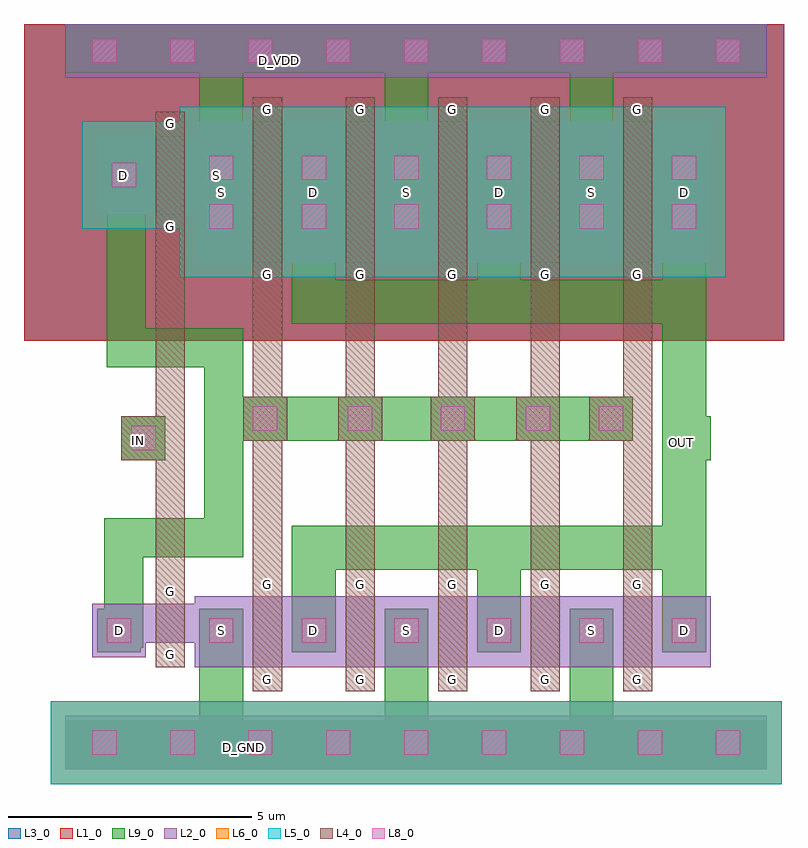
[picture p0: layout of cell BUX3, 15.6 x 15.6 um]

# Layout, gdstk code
import gdstk
lib = gdstk.Library(unit=1e-6, precision=1e-09)
def R(c, l, rs):  # rectangles x0, y0, x1, y1
    for r in rs: c.add(gdstk.rectangle(r[:2], r[2:], *l))
def A(c, l, x, y, w, h, nx, ny, dx, dy):  # array of equal rectangles
    R(c, l, [(x+i*dx, y+j*dy, x+i*dx+w, y+j*dy+h) for i in range(nx) for j in range(ny)])
def P(c, l, *ps):  # polygons
    for p in ps: c.add(gdstk.Polygon(p, *l))
L1_0 = (1, 0)
L2_0 = (2, 0)
L3_0 = (3, 0)
L4_0 = (4, 0)
L5_0 = (5, 0)
L6_0 = (6, 0)
L8_0 = (8, 0)
L9_0 = (9, 0)

bux3 = lib.new_cell('BUX3')
A(bux3, L1_0, 0, 8.8, 1.6, 6.5, 9, 1, 1.6, 0)
A(bux3, L1_0, 1.15, 8.9, 6, 5.9, 5, 1, 1.9, 0)
R(bux3, L1_0, [(-0.85,8.8,14.75,15.3), (-0.85,9.9,5.15,14.5)])
A(bux3, L2_0, 0, 0, 1.6, 1.1, 9, 2, 1.6, 14.2)
A(bux3, L2_0, 3.75, 2.1, 0.8, 1.45, 5, 1, 1.9, 0)
A(bux3, L2_0, 3.75, 10.4, 0.8, 2.9, 5, 1, 1.9, 0)
R(bux3, L2_0, [(2.65,2.1,3.75,3.55), (4.55,2.1,5.65,3.55), (4.55,2.1,5.65,3.55), (6.45,2.1,7.55,3.55), (6.45,2.1,7.55,3.55), (8.35,2.1,9.45,3.55), (8.35,2.1,9.45,3.55), (10.25,2.1,11.35,3.55), (10.25,2.1,11.35,3.55), (12.15,2.1,13.25,3.55), (0.55,2.3,1.65,3.4), (2.65,2.3,3.75,3.4), (1.65,2.6,2.65,3.4), (2.65,10.4,3.75,13.3), (4.55,10.4,5.65,13.3), (4.55,10.4,5.65,13.3), (6.45,10.4,7.55,13.3), (6.45,10.4,7.55,13.3), (8.35,10.4,9.45,13.3), (8.35,10.4,9.45,13.3), (10.25,10.4,11.35,13.3), (10.25,10.4,11.35,13.3), (12.15,10.4,13.25,13.3), (0.65,11.4,1.75,13), (1.75,11.4,2.55,13), (2.55,11.4,3.65,13)])
A(bux3, L3_0, 0, 8.8, 1.6, 6.5, 9, 1, 1.6, 0)
A(bux3, L3_0, 1.15, 8.9, 6, 5.9, 5, 1, 1.9, 0)
R(bux3, L3_0, [(-0.85,8.8,14.75,15.3), (-0.85,9.9,5.15,14.5)])
A(bux3, L4_0, 3.85, 1.6, 0.6, 2.45, 5, 1, 1.9, 0)
A(bux3, L4_0, 3.85, 1.6, 0.6, 0.5, 5, 2, 1.9, 1.95)
A(bux3, L4_0, 3.85, 4.05, 0.6, 5.85, 5, 1, 1.9, 0)
A(bux3, L4_0, 3.85, 9.9, 0.6, 0.5, 5, 2, 1.9, 3.4)
A(bux3, L4_0, 3.85, 9.9, 0.6, 3.9, 5, 1, 1.9, 0)
R(bux3, L4_0, [(1.85,2.1,2.45,2.6), (1.85,2.1,2.45,3.9), (1.85,2.75,2.45,10.4), (1.85,3.4,2.45,3.9), (1.15,6.35,2.05,7.25), (3.65,6.75,4.55,7.65), (5.6,6.75,6.5,7.65), (7.5,6.75,8.4,7.65), (9.25,6.75,10.15,7.65), (10.75,6.75,11.65,7.65), (1.85,10.2,2.45,11.3), (1.85,10.9,2.45,11.4), (1.85,10.9,2.45,13.5), (1.85,13,2.45,13.5)])
A(bux3, L5_0, 1.6, -0.3, 1.6, 1.7, 7, 1, 1.6, 0)
A(bux3, L5_0, 2.35, 10.1, 3.6, 3.5, 5, 1, 1.9, 0)
R(bux3, L5_0, [(-0.3,-0.3,1.6,1.4), (12.8,-0.3,14.7,1.4), (0.35,11.1,3.95,13.3)])
A(bux3, L6_0, 1.6, -0.3, 1.6, 1.7, 7, 1, 1.6, 0)
A(bux3, L6_0, 2.35, 10.1, 3.6, 3.5, 5, 1, 1.9, 0)
R(bux3, L6_0, [(-0.3,-0.3,1.6,1.4), (12.8,-0.3,14.7,1.4), (0.35,11.1,3.95,13.3)])
A(bux3, L8_0, 0.55, 0.3, 0.5, 0.5, 9, 2, 1.6, 14.2)
R(bux3, L8_0, [(0.85,2.6,1.35,3.1), (2.95,2.6,3.45,3.1), (2.95,2.6,3.45,3.1), (4.85,2.6,5.35,3.1), (4.85,2.6,5.35,3.1), (6.75,2.6,7.25,3.1), (6.75,2.6,7.25,3.1), (8.65,2.6,9.15,3.1), (8.65,2.6,9.15,3.1), (10.55,2.6,11.05,3.1), (10.55,2.6,11.05,3.1), (12.45,2.6,12.95,3.1), (1.35,6.55,1.85,7.05), (3.85,6.95,4.35,7.45), (5.8,6.95,6.3,7.45), (7.7,6.95,8.2,7.45), (9.45,6.95,9.95,7.45), (10.95,6.95,11.45,7.45), (2.95,11.1,3.45,11.6), (4.85,11.1,5.35,11.6), (4.85,11.1,5.35,11.6), (6.75,11.1,7.25,11.6), (6.75,11.1,7.25,11.6), (8.65,11.1,9.15,11.6), (8.65,11.1,9.15,11.6), (10.55,11.1,11.05,11.6), (10.55,11.1,11.05,11.6), (12.45,11.1,12.95,11.6), (0.95,11.95,1.45,12.45), (2.95,12.1,3.45,12.6), (4.85,12.1,5.35,12.6), (4.85,12.1,5.35,12.6), (6.75,12.1,7.25,12.6), (6.75,12.1,7.25,12.6), (8.65,12.1,9.15,12.6), (8.65,12.1,9.15,12.6), (10.55,12.1,11.05,12.6), (10.55,12.1,11.05,12.6), (12.45,12.1,12.95,12.6)])
A(bux3, L9_0, 0, 0, 1.6, 1, 9, 2, 1.6, 14.3)
R(bux3, L9_0, [(6.55,0.1,7.45,3.3), (3.65,0.2,4.25,0.8), (0.65,2.4,1.55,3.3), (2.75,2.4,3.65,3.3), (2.75,2.4,3.65,3.3), (4.65,2.4,5.55,3.3), (4.65,2.4,5.55,3.3), (6.55,2.4,7.45,3.3), (6.55,2.4,7.45,3.3), (8.45,2.4,9.35,3.3), (8.45,2.4,9.35,3.3), (8.45,2.4,9.35,5), (10.35,2.4,11.25,3.3), (10.35,2.4,11.25,3.3), (12.25,2.4,13.15,3.3), (12.25,2.4,13.15,11.8), (8.45,4.1,13.15,5), (1.15,6.35,2.05,7.25), (12.35,6.35,13.25,7.25), (1.2,6.45,1.8,7.05), (3.65,6.75,4.55,7.65), (3.65,6.75,10.75,7.65), (5.6,6.75,6.5,7.65), (7.5,6.75,8.4,7.65), (9.25,6.75,10.15,7.65), (10.75,6.75,11.65,7.65), (8.45,9.15,9.35,11.8), (2.75,10.9,3.65,12.8), (4.65,10.9,5.55,12.8), (4.65,10.9,5.55,12.8), (6.55,10.9,7.45,12.8), (6.55,10.9,7.45,12.8), (8.45,10.9,9.35,12.8), (8.45,10.9,9.35,12.8), (10.35,10.9,11.25,12.8), (10.35,10.9,11.25,12.8), (12.25,10.9,13.15,12.8), (0.75,11.7,1.65,12.7), (6.55,11.9,7.45,15.2), (4.3,14.4,4.9,15)])
P(bux3, L9_0, [(0.85,8.25),(2.85,8.25),(2.85,4.45),(3.65,4.45),(3.65,9.05),(1.65,9.05),(1.65,12.5),(0.85,12.5)],
  [(2.75,0.1),(4.1,0.1),(4.1,1),(3.65,1),(3.65,3.3),(2.75,3.3)],
  [(4.65,9.15),(13.15,9.15),(13.15,10.05),(5.55,10.05),(5.55,11.8),(4.65,11.8)],
  [(2.75,11.9),(3.65,11.9),(3.65,14.3),(4.1,14.3),(4.1,15.2),(2.75,15.2)],
  [(10.35,11.9),(11.25,11.9),(11.25,14.3),(12.1,14.3),(12.1,15.2),(10.35,15.2)],
  [(10.35,0.1),(12.1,0.1),(12.1,1),(11.25,1),(11.25,3.3),(10.35,3.3)],
  [(4.65,2.4),(5.55,2.4),(5.55,4.1),(9.35,4.1),(9.35,5),(4.65,5)],
  [(0.75,2.5),(1.6,2.5),(1.6,4.35),(3.65,4.35),(3.65,5.15),(0.8,5.15),(0.8,3.3),(0.75,3.3)])
bux3.add(gdstk.Label('G', (11.75,1.852), layer=4, texttype=0))
bux3.add(gdstk.Label('G', (11.75,3.802), layer=4, texttype=0))
bux3.add(gdstk.Label('S', (10.799,2.851), layer=9, texttype=0))
bux3.add(gdstk.Label('D', (12.699,2.851), layer=9, texttype=0))
bux3.add(gdstk.Label('G', (6.05,1.852), layer=4, texttype=0))
bux3.add(gdstk.Label('G', (6.05,3.802), layer=4, texttype=0))
bux3.add(gdstk.Label('S', (7.001,2.851), layer=9, texttype=0))
bux3.add(gdstk.Label('D', (5.101,2.851), layer=9, texttype=0))
bux3.add(gdstk.Label('G', (2.15,3.648), layer=4, texttype=0))
bux3.add(gdstk.Label('G', (2.15,2.348), layer=4, texttype=0))
bux3.add(gdstk.Label('S', (3.201,2.849), layer=9, texttype=0))
bux3.add(gdstk.Label('D', (1.101,2.849), layer=9, texttype=0))
bux3.add(gdstk.Label('G', (9.85,10.152), layer=4, texttype=0))
bux3.add(gdstk.Label('G', (9.85,13.552), layer=4, texttype=0))
bux3.add(gdstk.Label('S', (10.801,11.851), layer=9, texttype=0))
bux3.add(gdstk.Label('D', (8.901,11.851), layer=9, texttype=0))
bux3.add(gdstk.Label('G', (9.85,1.852), layer=4, texttype=0))
bux3.add(gdstk.Label('G', (9.85,3.802), layer=4, texttype=0))
bux3.add(gdstk.Label('S', (10.801,2.851), layer=9, texttype=0))
bux3.add(gdstk.Label('D', (8.901,2.851), layer=9, texttype=0))
bux3.add(gdstk.Label('G', (7.95,1.852), layer=4, texttype=0))
bux3.add(gdstk.Label('G', (7.95,3.802), layer=4, texttype=0))
bux3.add(gdstk.Label('S', (6.999,2.851), layer=9, texttype=0))
bux3.add(gdstk.Label('D', (8.899,2.851), layer=9, texttype=0))
bux3.add(gdstk.Label('G', (11.75,10.152), layer=4, texttype=0))
bux3.add(gdstk.Label('G', (11.75,13.552), layer=4, texttype=0))
bux3.add(gdstk.Label('S', (10.799,11.851), layer=9, texttype=0))
bux3.add(gdstk.Label('D', (12.699,11.851), layer=9, texttype=0))
bux3.add(gdstk.Label('G', (4.15,1.852), layer=4, texttype=0))
bux3.add(gdstk.Label('G', (4.15,3.802), layer=4, texttype=0))
bux3.add(gdstk.Label('S', (3.199,2.851), layer=9, texttype=0))
bux3.add(gdstk.Label('D', (5.099,2.851), layer=9, texttype=0))
bux3.add(gdstk.Label('G', (6.05,10.152), layer=4, texttype=0))
bux3.add(gdstk.Label('G', (6.05,13.552), layer=4, texttype=0))
bux3.add(gdstk.Label('S', (7.001,11.851), layer=9, texttype=0))
bux3.add(gdstk.Label('D', (5.101,11.851), layer=9, texttype=0))
bux3.add(gdstk.Label('G', (7.95,10.152), layer=4, texttype=0))
bux3.add(gdstk.Label('G', (7.95,13.552), layer=4, texttype=0))
bux3.add(gdstk.Label('S', (6.999,11.851), layer=9, texttype=0))
bux3.add(gdstk.Label('D', (8.899,11.851), layer=9, texttype=0))
bux3.add(gdstk.Label('G', (2.15,13.248), layer=4, texttype=0))
bux3.add(gdstk.Label('G', (2.15,11.148), layer=4, texttype=0))
bux3.add(gdstk.Label('S', (3.101,12.199), layer=2, texttype=0))
bux3.add(gdstk.Label('D', (1.201,12.199), layer=9, texttype=0))
bux3.add(gdstk.Label('G', (4.15,10.152), layer=4, texttype=0))
bux3.add(gdstk.Label('G', (4.15,13.552), layer=4, texttype=0))
bux3.add(gdstk.Label('S', (3.199,11.851), layer=9, texttype=0))
bux3.add(gdstk.Label('D', (5.099,11.851), layer=9, texttype=0))
bux3.add(gdstk.Label('IN', (1.5,6.75), layer=50, texttype=0))
bux3.add(gdstk.Label('D_GND', (3.65,0.45), layer=50, texttype=0))
bux3.add(gdstk.Label('D_VDD', (4.4,14.55), layer=50, texttype=0))
bux3.add(gdstk.Label('OUT', (12.65,6.7), layer=50, texttype=0))

lib.write_gds('BUX3.gds')
